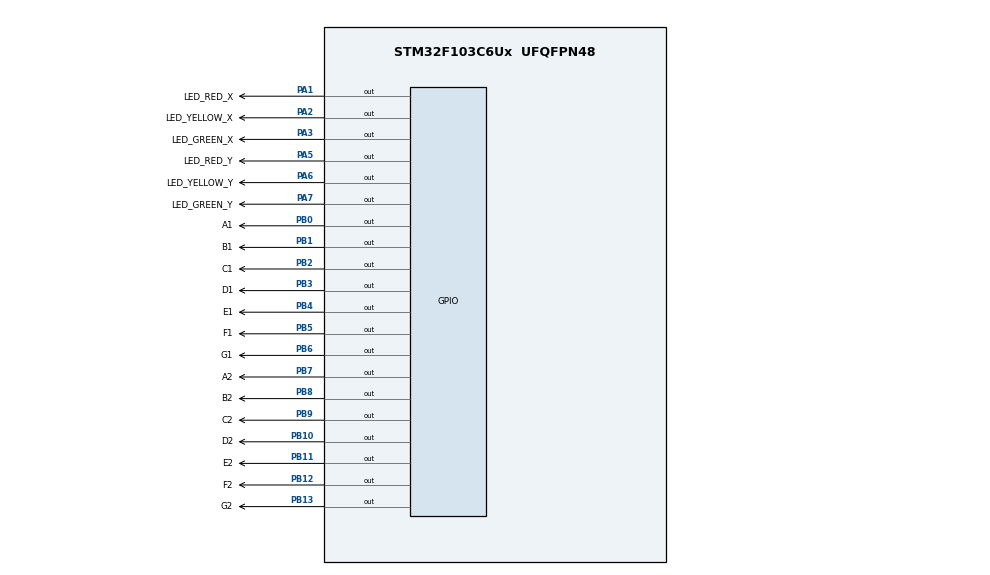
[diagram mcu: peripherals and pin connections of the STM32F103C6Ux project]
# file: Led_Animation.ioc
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Mcu.Family=STM32F1
Mcu.Name=STM32F103C6Ux
Mcu.Package=UFQFPN48
NVIC.PriorityGroup=NVIC_PRIORITYGROUP_4
PA1.GPIO_Label=LED_RED_X
PA1.Signal=GPIO_Output
PA2.GPIO_Label=LED_YELLOW_X
PA2.Signal=GPIO_Output
PA3.GPIO_Label=LED_GREEN_X
PA3.Signal=GPIO_Output
PA5.GPIO_Label=LED_RED_Y
PA5.Signal=GPIO_Output
PA6.GPIO_Label=LED_YELLOW_Y
PA6.Signal=GPIO_Output
PA7.GPIO_Label=LED_GREEN_Y
PA7.Signal=GPIO_Output
PB0.GPIO_Label=A1
PB0.Signal=GPIO_Output
PB1.GPIO_Label=B1
PB1.Signal=GPIO_Output
PB10.GPIO_Label=D2
PB10.Signal=GPIO_Output
PB11.GPIO_Label=E2
PB11.Signal=GPIO_Output
PB12.GPIO_Label=F2
PB12.Signal=GPIO_Output
PB13.GPIO_Label=G2
PB13.Signal=GPIO_Output
PB2.GPIO_Label=C1
PB2.Signal=GPIO_Output
PB3.GPIO_Label=D1
PB3.Signal=GPIO_Output
PB4.GPIO_Label=E1
PB4.Signal=GPIO_Output
PB5.GPIO_Label=F1
PB5.Signal=GPIO_Output
PB6.GPIO_Label=G1
PB6.Signal=GPIO_Output
PB7.GPIO_Label=A2
PB7.Signal=GPIO_Output
PB8.GPIO_Label=B2
PB8.Signal=GPIO_Output
PB9.GPIO_Label=C2
PB9.Signal=GPIO_Output
ProjectManager.HeapSize=0x200
ProjectManager.StackSize=0x400
ProjectManager.TargetToolchain=STM32CubeIDE
RCC.APB1Freq_Value=8000000
RCC.APB2Freq_Value=8000000
VP_SYS_VS_ND.Mode=No_Debug
board=custom

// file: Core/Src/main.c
/* USER CODE BEGIN Header */
/**
 ******************************************************************************
 * @file           : main.c
 * @brief          : Main program body
 ******************************************************************************
 * @attention
 *
 * <h2><center>&copy; Copyright (c) 2025 STMicroelectronics.
 * All rights reserved.</center></h2>
 *
 * This software component is licensed by ST under BSD 3-Clause license,
 * the "License"; You may not use this file except in compliance with the
 * License. You may obtain a copy of the License at:
 * opensource.org/licenses/BSD-3-Clause
 *
 ******************************************************************************
 */
/* USER CODE END Header */
#include "main.h"

/* USER CODE BEGIN PD */
#define DIGIT_COUNT 2
#define COLOR_COUNT 3
#define SEG_COUNT 7

// Thêm enum để quản lý màu sắc
enum TrafficLightColor {
	RED, YELLOW, GREEN
};
/* USER CODE END PD */

/* USER CODE BEGIN PV */
//redTime = yellowTime + greenTime
static const int yellowTime = 2;
static const int greenTime = 3;
static const int redTime = yellowTime + greenTime;

static const uint16_t LED_PINS[DIGIT_COUNT][COLOR_COUNT] = { { LED_RED_X_Pin,
LED_YELLOW_X_Pin, LED_GREEN_X_Pin }, // Đèn X
		{ LED_RED_Y_Pin, LED_YELLOW_Y_Pin, LED_GREEN_Y_Pin }  // Đèn Y
};

static GPIO_TypeDef *const LED_PORTS[DIGIT_COUNT][COLOR_COUNT] = { {
LED_RED_X_GPIO_Port, LED_YELLOW_X_GPIO_Port, LED_GREEN_X_GPIO_Port }, {
LED_RED_Y_GPIO_Port, LED_YELLOW_Y_GPIO_Port, LED_GREEN_Y_GPIO_Port } };

//---------------------ex 4,5---------------------//
static const uint16_t SEG_PINS[DIGIT_COUNT][SEG_COUNT] = { { A1_Pin, B1_Pin,
C1_Pin, D1_Pin, E1_Pin, F1_Pin, G1_Pin }, // led 7 đoạn cho đèn X
		{ A2_Pin, B2_Pin, C2_Pin, D2_Pin, E2_Pin, F2_Pin, G2_Pin }, // led 7 đoạn cho đèn Y
		};

static GPIO_TypeDef *const SEG_PORTS[DIGIT_COUNT][SEG_COUNT] = { { GPIOB, GPIOB,
GPIOB, GPIOB, GPIOB, GPIOB, GPIOB }, { GPIOB, GPIOB, GPIOB, GPIOB,
GPIOB, GPIOB, GPIOB }, };
static const uint8_t SEG_MAP[10] = { 0b00111111, // 0
		0b00000110, // 1
		0b01011011, // 2
		0b01001111, // 3
		0b01100110, // 4
		0b01101101, // 5
		0b01111101, // 6
		0b00000111, // 7
		0b01111111, // 8
		0b01101111  // 9
		};
//------------------ end ex4,5 ---------------------//
/* USER CODE END PV */

void SystemClock_Config(void);
static void MX_GPIO_Init(void);
/* USER CODE BEGIN PFP */
static void set_traffic_light(uint8_t index, enum TrafficLightColor color);
static void update_7seg(uint8_t index, uint8_t number);
static void set_segments_by_mask(uint8_t mask, uint8_t digit_idx);

static void init_display(void);

static void demo_ex3(int counter);
static void demo_ex4(int counter);
static void demo_ex5(int counter);
/* USER CODE END PFP */

int main(void) {

	/* MCU Configuration--------------------------------------------------------*/

	/* Reset of all peripherals, Initializes the Flash interface and the Systick. */
	HAL_Init();

	/* Configure the system clock */
	SystemClock_Config();

	/* Initialize all configured peripherals */
	MX_GPIO_Init();
	/* USER CODE BEGIN 2 */
	init_display();
	/* USER CODE END 2 */

	/* Infinite loop */
	/* USER CODE BEGIN WHILE */
	int counter = 100;
	while (1) {
		if (counter <= 0) {
			counter = 100;
		}
//		demo_ex3(counter);
//		demo_ex4(counter);
		demo_ex5(counter);
		HAL_Delay(1000);
		counter--;
		/* USER CODE END WHILE */

	}
}

void SystemClock_Config(void) {
	RCC_OscInitTypeDef RCC_OscInitStruct = { 0 };
	RCC_ClkInitTypeDef RCC_ClkInitStruct = { 0 };

	/** Initializes the RCC Oscillators according to the specified parameters
	 * in the RCC_OscInitTypeDef structure.
	 */
	RCC_OscInitStruct.OscillatorType = RCC_OSCILLATORTYPE_HSI;
	RCC_OscInitStruct.HSIState = RCC_HSI_ON;
	RCC_OscInitStruct.HSICalibrationValue = RCC_HSICALIBRATION_DEFAULT;
	RCC_OscInitStruct.PLL.PLLState = RCC_PLL_NONE;
	if (HAL_RCC_OscConfig(&RCC_OscInitStruct) != HAL_OK) {
		Error_Handler();
	}
	/** Initializes the CPU, AHB and APB buses clocks
	 */
	RCC_ClkInitStruct.ClockType = RCC_CLOCKTYPE_HCLK | RCC_CLOCKTYPE_SYSCLK
			| RCC_CLOCKTYPE_PCLK1 | RCC_CLOCKTYPE_PCLK2;
	RCC_ClkInitStruct.SYSCLKSource = RCC_SYSCLKSOURCE_HSI;
	RCC_ClkInitStruct.AHBCLKDivider = RCC_SYSCLK_DIV1;
	RCC_ClkInitStruct.APB1CLKDivider = RCC_HCLK_DIV1;
	RCC_ClkInitStruct.APB2CLKDivider = RCC_HCLK_DIV1;

	if (HAL_RCC_ClockConfig(&RCC_ClkInitStruct, FLASH_LATENCY_0) != HAL_OK) {
		Error_Handler();
	}
}

static void MX_GPIO_Init(void) {
	GPIO_InitTypeDef GPIO_InitStruct = { 0 };

	/* GPIO Ports Clock Enable */
	__HAL_RCC_GPIOA_CLK_ENABLE();
	__HAL_RCC_GPIOB_CLK_ENABLE();

	/*Configure GPIO pin Output Level */
	HAL_GPIO_WritePin(GPIOA,
			LED_RED_X_Pin | LED_YELLOW_X_Pin | LED_GREEN_X_Pin | LED_RED_Y_Pin
					| LED_YELLOW_Y_Pin | LED_GREEN_Y_Pin, GPIO_PIN_RESET);

	/*Configure GPIO pin Output Level */
	HAL_GPIO_WritePin(GPIOB,
			A1_Pin | B1_Pin | C1_Pin | D2_Pin | E2_Pin | F2_Pin | G2_Pin
					| D1_Pin | E1_Pin | F1_Pin | G1_Pin | A2_Pin | B2_Pin
					| C2_Pin, GPIO_PIN_RESET);

	/*Configure GPIO pins : LED_RED_X_Pin LED_YELLOW_X_Pin LED_GREEN_X_Pin LED_RED_Y_Pin
	 LED_YELLOW_Y_Pin LED_GREEN_Y_Pin */
	GPIO_InitStruct.Pin = LED_RED_X_Pin | LED_YELLOW_X_Pin | LED_GREEN_X_Pin
			| LED_RED_Y_Pin | LED_YELLOW_Y_Pin | LED_GREEN_Y_Pin;
	GPIO_InitStruct.Mode = GPIO_MODE_OUTPUT_PP;
	GPIO_InitStruct.Pull = GPIO_NOPULL;
	GPIO_InitStruct.Speed = GPIO_SPEED_FREQ_LOW;
	HAL_GPIO_Init(GPIOA, &GPIO_InitStruct);

	/*Configure GPIO pins : A1_Pin B1_Pin C1_Pin D2_Pin
	 E2_Pin F2_Pin G2_Pin D1_Pin
	 E1_Pin F1_Pin G1_Pin A2_Pin
	 B2_Pin C2_Pin */
	GPIO_InitStruct.Pin = A1_Pin | B1_Pin | C1_Pin | D2_Pin | E2_Pin | F2_Pin
			| G2_Pin | D1_Pin | E1_Pin | F1_Pin | G1_Pin | A2_Pin | B2_Pin
			| C2_Pin;
	GPIO_InitStruct.Mode = GPIO_MODE_OUTPUT_PP;
	GPIO_InitStruct.Pull = GPIO_NOPULL;
	GPIO_InitStruct.Speed = GPIO_SPEED_FREQ_LOW;
	HAL_GPIO_Init(GPIOB, &GPIO_InitStruct);

}

/* USER CODE BEGIN 4 */
/**
 * @brief  Bật một màu đèn cụ thể cho một cột đèn và tắt các màu khác.
 * @param  index: 0 cho đèn X, 1 cho đèn Y.
 * @param  color: RED, YELLOW, hoặc GREEN.
 * @retval None
 */
static void set_traffic_light(uint8_t index, enum TrafficLightColor color) {
	// Tắt hết các đèn của cột đèn 'index' trước
	HAL_GPIO_WritePin(LED_PORTS[index][RED], LED_PINS[index][RED],
			GPIO_PIN_SET);
	HAL_GPIO_WritePin(LED_PORTS[index][YELLOW], LED_PINS[index][YELLOW],
			GPIO_PIN_SET);
	HAL_GPIO_WritePin(LED_PORTS[index][GREEN], LED_PINS[index][GREEN],
			GPIO_PIN_SET);

	// Bật đèn mong muốn
	switch (color) {
	case RED:
		HAL_GPIO_WritePin(LED_PORTS[index][RED], LED_PINS[index][RED],
				GPIO_PIN_RESET);
		break;
	case YELLOW:
		HAL_GPIO_WritePin(LED_PORTS[index][YELLOW], LED_PINS[index][YELLOW],
				GPIO_PIN_RESET);
		break;
	case GREEN:
		HAL_GPIO_WritePin(LED_PORTS[index][GREEN], LED_PINS[index][GREEN],
				GPIO_PIN_RESET);
		break;
	}
}

/**
 * @brief  Hiển thị một số lên LED 7 đoạn.
 * @param  index: 0 cho LED X, 1 cho LED Y.
 * @param  number: Số cần hiển thị (0-9). Nếu số > 9, LED sẽ tắt.
 * @retval None
 */
static void update_7seg(uint8_t index, uint8_t number) {
	if (index >= DIGIT_COUNT)
		return;

	if (number > 9) {
		set_segments_by_mask(0x00, index); // Tắt hết segment
	} else {
		uint8_t mask = SEG_MAP[number];
		set_segments_by_mask(mask, index);
	}
}

static void set_segments_by_mask(uint8_t mask, uint8_t digit_idx) {
	for (int s = 0; s < 7; s++) {

		GPIO_TypeDef *port = (GPIO_TypeDef*) SEG_PORTS[digit_idx][s];
		uint16_t pin = SEG_PINS[digit_idx][s];

		// Bit thứ s của mask tương ứng với segment thứ s (A=0, B=1, ..., G=6)
		if ((mask >> s) & 1) {
			HAL_GPIO_WritePin(port, pin, GPIO_PIN_RESET); // Bật segment (active low)
		} else {
			HAL_GPIO_WritePin(port, pin, GPIO_PIN_SET); // Tắt segment
		}
	}
}

static void init_display() {
	for (int i = 0; i < DIGIT_COUNT; i++) {
		for (int j = 0; j < COLOR_COUNT; j++) {
			HAL_GPIO_WritePin(LED_PORTS[i][j], LED_PINS[i][j], GPIO_PIN_SET); // SET để tắt
		}
	}
	// Tắt hết 2 led 7 đoạn
	update_7seg(0, 10); // Gửi số > 9 để tắt
	update_7seg(1, 10);
}

static void demo_ex3(int counter) {
	counter %= 10;
	switch (counter) {
	case 0:
		set_traffic_light(0, RED);
		set_traffic_light(1, GREEN);
		break;
	case 7:
		set_traffic_light(1, YELLOW);
		break;
	case 5:
		set_traffic_light(0, GREEN);
		set_traffic_light(1, RED);
		break;
	case 2:
		set_traffic_light(0, YELLOW);
		break;
	default:
		break;
	}
}

static void demo_ex4(int counter) {
	counter %= 10;
	counter = 9 - counter;
	switch (counter) {
	case 0:
		update_7seg(0, 0);
		break;
	case 1:
		update_7seg(0, 1);
		break;
	case 2:
		update_7seg(0, 2);
		break;
	case 3:
		update_7seg(0, 3);
		break;
	case 4:
		update_7seg(0, 4);
		break;
	case 5:
		update_7seg(0, 5);
		break;
	case 6:
		update_7seg(0, 6);
		break;
	case 7:
		update_7seg(0, 7);
		break;
	case 8:
		update_7seg(0, 8);
		break;
	case 9:
		update_7seg(0, 9);
		break;
	default:
		break;
	}
}

static void demo_ex5(int counter) {
	counter %= 10;
	switch (counter) {
	case 0:
		set_traffic_light(0, RED);
		set_traffic_light(1, GREEN);
		update_7seg(0, 5);
		update_7seg(1, 3);
		break;
	case 9:
		update_7seg(0, 4);
		update_7seg(1, 2);
		break;
	case 8:
		update_7seg(0, 3);
		update_7seg(1, 1);
		break;
	case 7:
		set_traffic_light(1, YELLOW);
		update_7seg(0, 2);
		update_7seg(1, 2);
		break;
	case 6:
		update_7seg(0, 1);
		update_7seg(1, 1);
		break;
	case 5:
		set_traffic_light(0, GREEN);
		set_traffic_light(1, RED);
		update_7seg(0, 3);
		update_7seg(1, 5);
		break;
	case 4:
		update_7seg(0, 2);
		update_7seg(1, 4);
		break;
	case 3:
		update_7seg(0, 1);
		update_7seg(1, 3);
		break;
	case 2:
		set_traffic_light(0, YELLOW);
		update_7seg(0, 2);
		update_7seg(1, 2);
		break;
	case 1:
		update_7seg(0, 1);
		update_7seg(1, 1);
		break;
	default:
		break;
	}
}
/* USER CODE END 4 */

void Error_Handler(void) {
	__disable_irq();
	while (1) {
	}
}

/************************ (C) COPYRIGHT STMicroelectronics *****END OF FILE****/
